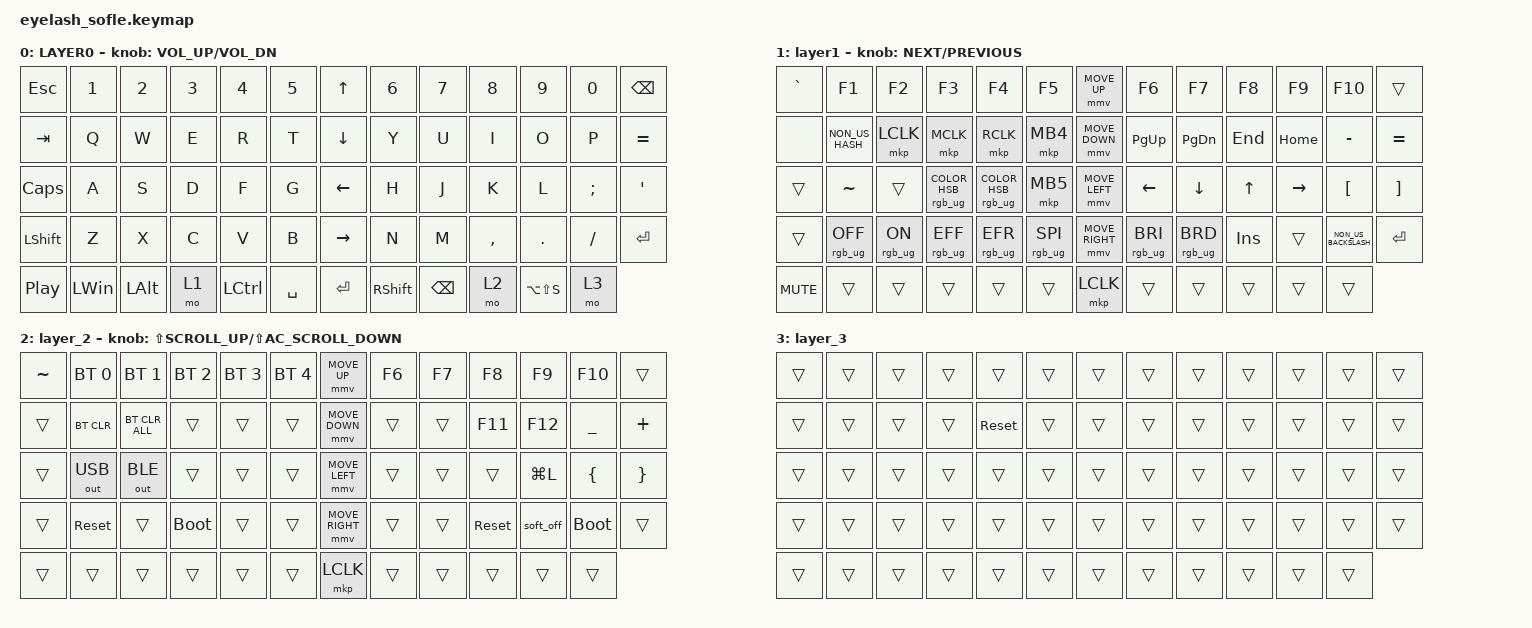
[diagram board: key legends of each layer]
#define ZMK_POINTING_DEFAULT_MOVE_VAL 1200  // 600
#define ZMK_POINTING_DEFAULT_SCRL_VAL 25   // 10

#include <input/processors.dtsi>
#include <zephyr/dt-bindings/input/input-event-codes.h>
#include <behaviors.dtsi>
#include <dt-bindings/zmk/bt.h>
#include <dt-bindings/zmk/keys.h>
#include <dt-bindings/zmk/outputs.h>
#include <dt-bindings/zmk/pointing.h>
#include <dt-bindings/zmk/rgb.h>

&mmv_input_listener { input-processors = <&zip_xy_scaler 2 1>; };

&msc_input_listener { input-processors = <&zip_scroll_scaler 2 1>; };

&msc {
    acceleration-exponent = <1>;      // 0
    time-to-max-speed-ms = <100>;       // 300
    delay-ms = <0>;                   // 0
};

&mmv {
    time-to-max-speed-ms = <500>;
    acceleration-exponent = <1>;
    trigger-period-ms = <16>;
};

/ {
    scroll_encoder: scroll_encoder {
        compatible = "zmk,behavior-sensor-rotate";
        #sensor-binding-cells = <0>;
        bindings = <&msc SCRL_DOWN>, <&msc SCRL_UP>;

        tap-ms = <100>;
    };

    behaviors {
    };

    keymap {
        compatible = "zmk,keymap";

        layer0 {
            bindings = <
&kp ESC           &kp N1        &kp N2        &kp N3  &kp N4            &kp N5       &kp UP_ARROW     &kp N6           &kp N7         &kp N8     &kp N9         &kp N0    &kp BACKSPACE
&kp TAB           &kp Q         &kp W         &kp E   &kp R             &kp T        &kp DOWN_ARROW   &kp Y            &kp U          &kp I      &kp O          &kp P     &kp EQUAL
&kp CAPS          &kp A         &kp S         &kp D   &kp F             &kp G        &kp LEFT_ARROW   &kp H            &kp J          &kp K      &kp L          &kp SEMI  &kp APOS
&kp LSHFT         &kp Z         &kp X         &kp C   &kp V             &kp B        &kp RIGHT_ARROW  &kp N            &kp M          &kp COMMA  &kp DOT        &kp FSLH  &kp ENTER
&kp C_PLAY_PAUSE  &kp LEFT_WIN  &kp LEFT_ALT  &mo 1   &kp LEFT_CONTROL  &kp SPACE    &kp ENTER        &kp RIGHT_SHIFT  &kp BACKSPACE  &mo 2      &kp LA(LS(S))  &mo 3
            >;

            sensor-bindings = <&inc_dec_kp C_VOLUME_UP C_VOL_DN>;
            display-name = "LAYER0";
        };

        layer_1 {
            bindings = <
&kp GRAVE   &kp F1           &kp F2          &kp F3                             &kp F4                          &kp F5             &mmv MOVE_UP     &kp F6           &kp F7           &kp F8        &kp F9     &kp F10               &trans
&none       &kp NON_US_HASH  &mkp LCLK       &mkp MCLK                          &mkp RCLK                       &mkp MB4           &mmv MOVE_DOWN   &kp PG_UP        &kp PAGE_DOWN    &kp END       &kp HOME   &kp MINUS             &kp EQUAL
&trans      &kp TILDE        &trans          &rgb_ug RGB_COLOR_HSB(222,100,50)  &rgb_ug RGB_COLOR_HSB(0,0,100)  &mkp MB5           &mmv MOVE_LEFT   &kp LEFT         &kp DOWN         &kp UP_ARROW  &kp RIGHT  &kp LEFT_BRACKET      &kp RIGHT_BRACKET
&trans      &rgb_ug RGB_OFF  &rgb_ug RGB_ON  &rgb_ug RGB_EFF                    &rgb_ug RGB_EFR                 &rgb_ug RGB_SPI    &mmv MOVE_RIGHT  &rgb_ug RGB_BRI  &rgb_ug RGB_BRD  &kp INSERT    &trans     &kp NON_US_BACKSLASH  &kp ENTER
&kp C_MUTE  &trans           &trans          &trans                             &trans                          &trans             &mkp LCLK        &trans           &trans           &trans        &trans     &trans
            >;

            display-name = "layer1";
            sensor-bindings = <&inc_dec_kp C_NEXT C_PREVIOUS>;
        };

        layer_2 {
            bindings = <
&kp TILDE  &bt BT_SEL 0  &bt BT_SEL 1    &bt BT_SEL 2  &bt BT_SEL 3  &bt BT_SEL 4    &mmv MOVE_UP     &kp F6  &kp F7  &kp F8      &kp F9     &kp F10      &trans
&trans     &bt BT_CLR    &bt BT_CLR_ALL  &trans        &trans        &trans          &mmv MOVE_DOWN   &trans  &trans  &kp F11     &kp F12    &kp UNDER    &kp PLUS
&trans     &out OUT_USB  &out OUT_BLE    &trans        &trans        &trans          &mmv MOVE_LEFT   &trans  &trans  &trans      &kp LG(L)  &kp LBRC     &kp RBRC
&trans     &sys_reset    &trans          &bootloader   &trans        &trans          &mmv MOVE_RIGHT  &trans  &trans  &sys_reset  &soft_off  &bootloader  &trans
&trans     &trans        &trans          &trans        &trans        &trans          &mkp LCLK        &trans  &trans  &trans      &trans     &trans
            >;

            sensor-bindings = <&inc_dec_kp LS(K_SCROLL_UP) LS(C_AC_SCROLL_DOWN)>;
        };

        layer_3 {
            bindings = <
&trans  &trans  &trans  &trans  &trans      &trans    &trans  &trans  &trans  &trans  &trans  &trans  &trans
&trans  &trans  &trans  &trans  &sys_reset  &trans    &trans  &trans  &trans  &trans  &trans  &trans  &trans
&trans  &trans  &trans  &trans  &trans      &trans    &trans  &trans  &trans  &trans  &trans  &trans  &trans
&trans  &trans  &trans  &trans  &trans      &trans    &trans  &trans  &trans  &trans  &trans  &trans  &trans
&trans  &trans  &trans  &trans  &trans      &trans    &trans  &trans  &trans  &trans  &trans  &trans
            >;
        };
    };
};
